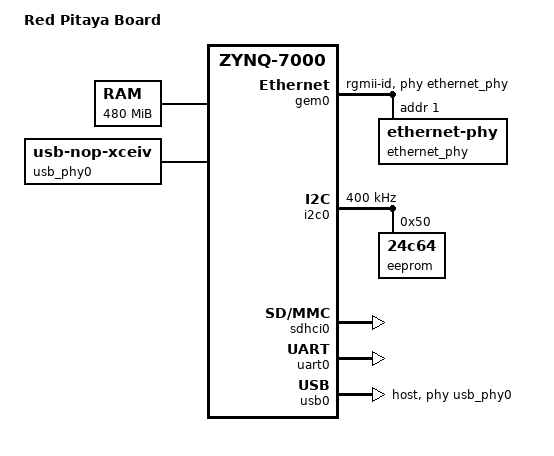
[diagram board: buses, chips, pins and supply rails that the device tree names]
// SPDX-License-Identifier: GPL-2.0+
/*
 *  Copyright (C) 2011 - 2015 Xilinx
 *  Copyright (C) 2012 National Instruments Corp.
 */
/dts-v1/;
#include "zynq-7000.dtsi"

/ {
	model = "Red Pitaya Board";
	compatible = "xlnx,zynq-red-pitaya", "xlnx,zynq-7000";

	aliases {
		ethernet0 = &gem0;
		serial0 = &uart0;
		mmc0 = &sdhci0;
	};

	memory@0 {
		device_type = "memory";
		reg = <0x0 0x1E000000>;
	};

	chosen {
		bootargs = "";
		stdout-path = "serial0:115200n8";
	};

	usb_phy0: phy0 {
		#phy-cells = <0>;
		compatible = "usb-nop-xceiv";
	};
};

&clkc {
	ps-clk-frequency = <33333333>;
};

&gem0 {
	status = "okay";
	phy-mode = "rgmii-id";
	phy-handle = <&ethernet_phy>;

	ethernet_phy: ethernet-phy@1 {
		reg = <1>;
		device_type = "ethernet-phy";
	};
};

&i2c0 {
	status = "okay";
	clock-frequency = <400000>;
	eeprom@50 {
		compatible = "24c64";
		reg = <0x50>;
	};
};

&sdhci0 {
	u-boot,dm-pre-reloc;
	status = "okay";
};

&uart0 {
	u-boot,dm-pre-reloc;
	status = "okay";
};

&usb0 {
	status = "okay";
	dr_mode = "host";
	usb-phy = <&usb_phy0>;
};
